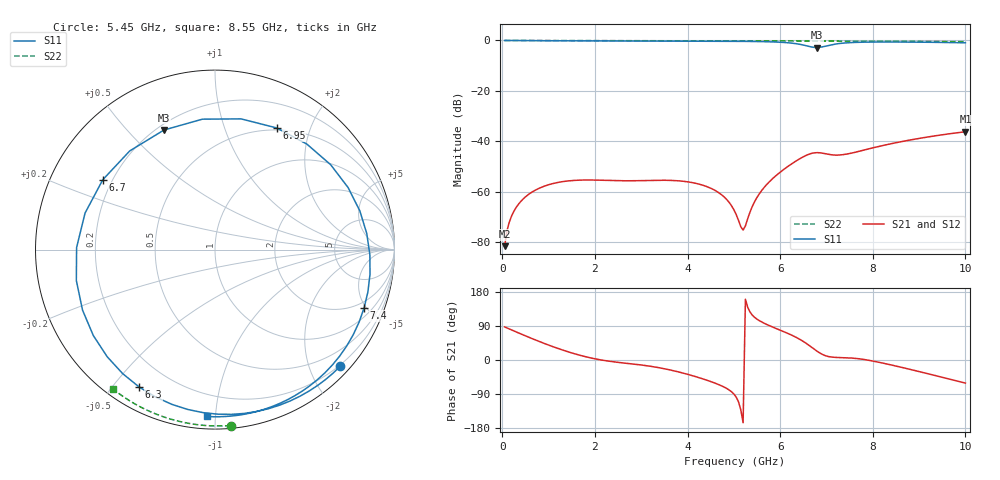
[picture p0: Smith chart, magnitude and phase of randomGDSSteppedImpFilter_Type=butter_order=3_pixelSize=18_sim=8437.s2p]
! freq	dB(S11)	phase(S11)	dB(S12)	phase(S12)
!  dB(S21)	phase(S21)	dB(S22)	phase(S22)
!S-par simulation data
#  GHz  S  DB  R 50
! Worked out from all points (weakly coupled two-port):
!   200 points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, 50 MHz to 10 GHz, reference 50 ohm
!   highest |S21| = -36.14 dB at 10 GHz (marker M1); lowest = -81.5 dB at 50 MHz (marker M2)
!   lowest |S11| = -2.8 dB at 6.8 GHz (marker M3), VSWR 6.26, Z = 11.4 + j31.8 ohm
!   |S11| at or under -10 dB: nowhere
!   |S22| runs from -0.5 to 0.0 dB; largest |S21 - S12| = 0
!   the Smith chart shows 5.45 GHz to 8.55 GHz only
!   S11 on the Smith chart (normalised r, x): 5.45 GHz: 0.18, -2.53; 6.3 GHz: 0.09, -0.59; 6.7 GHz: 0.16, +0.28; 6.95 GHz: 0.47, +1.52; 7.4 GHz: 1.52, -4.84; 8.55 GHz: 0.07, -0.95
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0.05  -0.01 -4.6  -81.46 87.3  -81.46 87.3  -0.00 -0.8
0.3  -0.04 -27.0  -66.11 74.1  -66.11 74.1  -0.01 -5.0
0.9  -0.10 -79.7  -57.74 44.0  -57.74 44.0  -0.02 -15.0
1.75  -0.17 -150.2  -55.27 10.1  -55.27 10.1  -0.04 -28.9
2.45  -0.20 155.5  -55.52 -5.5  -55.52 -5.5  -0.05 -40.1
3.4  -0.24 86.6  -55.36 -20.7  -55.36 -20.7  -0.07 -54.9
4.25  -0.27 30.5  -56.90 -46.7  -56.90 -46.7  -0.10 -67.7
5.05  -0.33 -18.2  -68.90 -97.7  -68.90 -97.7  -0.12 -79.3
5.2  -0.36 -27.3  -75.10 -165.6  -75.10 -165.6  -0.13 -81.4
5.45  -0.41 -43.0  -63.78 112.4  -63.78 112.4  -0.14 -84.9
5.95  -0.66 -79.8  -52.91 81.3  -52.91 81.3  -0.16 -91.9
6.3  -1.17 -118.9  -48.24 62.6  -48.24 62.6  -0.18 -96.6
6.55  -2.03 -167.4  -45.60 45.0  -45.60 45.0  -0.19 -100.0
6.7  -2.66 148.1  -44.62 31.8  -44.62 31.8  -0.20 -102.0
6.8  -2.80 113.1  -44.43 22.9  -44.43 22.9  -0.20 -103.3
6.95  -2.38 63.1  -44.75 12.6  -44.75 12.6  -0.21 -105.3
7.15  -1.56 15.0  -45.35 7.2  -45.35 7.2  -0.23 -108.0
7.4  -0.99 -21.4  -45.11 6.1  -45.11 6.1  -0.24 -111.2
7.8  -0.68 -55.1  -43.44 1.6  -43.44 1.6  -0.27 -116.4
8.35  -0.61 -84.1  -41.07 -11.7  -41.07 -11.7  -0.32 -123.5
8.55  -0.62 -92.7  -40.31 -17.3  -40.31 -17.3  -0.33 -126.0
10  -0.93 -145.8  -36.14 -60.9  -36.14 -60.9  -0.49 -144.4
